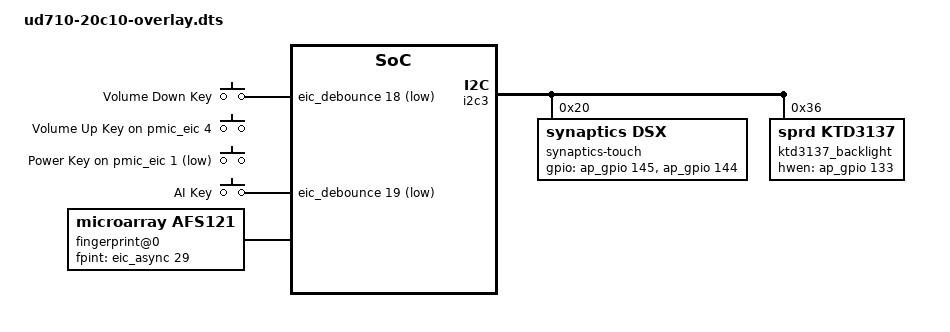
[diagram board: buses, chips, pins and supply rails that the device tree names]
/dts-v1/;
/plugin/;

#include <dt-bindings/input/input.h>
#include <dt-bindings/gpio/gpio.h>

/ {
	fragment {
		target-path = "/";
		__overlay__ {

			gpio-keys {
				compatible = "gpio-keys";

				key-volumedown {
					label = "Volume Down Key";
					linux,code = <KEY_VOLUMEDOWN>;
					gpios = <&eic_debounce 18 GPIO_ACTIVE_LOW>;
					debounce-interval = <2>;
					wakeup-source;
				};

				key-volumeup {
					label = "Volume Up Key";
					linux,code = <KEY_VOLUMEUP>;
					gpios = <&pmic_eic 4 GPIO_ACTIVE_HIGH>;
					debounce-interval = <2>;
					wakeup-source;
				};

				key-power {
					label = "Power Key";
					linux,code = <KEY_POWER>;
					gpios = <&pmic_eic 1 GPIO_ACTIVE_LOW>;
					debounce-interval = <2>;
					wakeup-source;
				};

				key-ai {
					label = "AI Key";
					linux,code = <766>;
					gpios = <&eic_debounce 19 GPIO_ACTIVE_LOW>;
					debounce-interval = <2>;
					wakeup-source;
				};
			};

			fingerprint@0 {
				compatible = "microarray,afs121";
				fpint-gpios = <&eic_async 29 0>;
			};
		};
	};
};

&i2c3 {
	status = "okay";

	synaptics-touch@20 {
		compatible = "synaptics,dsx";
		reg = <0x20>;
		gpios = <&ap_gpio 145 GPIO_ACTIVE_HIGH
			&ap_gpio 144 GPIO_ACTIVE_HIGH>;
	};

	ktd3137_backlight: backlight@36 {
		status = "okay";
		compatible = "sprd,ktd3137";
		reg = <0x36>;
		hwen-gpio = <&ap_gpio 133 GPIO_ACTIVE_HIGH>;
		ktd,using-lsb;
		ktd,using-linear;
		ktd,bl-fscal-led = <0x99>;/*default 20.2mA*/
		ktd,turn-on-ramp = <0>; /* Should add ms value, please check datasheet*/
		ktd,turn-off-ramp = <0>;  /* Should add ms value, please check datasheet*/
		ktd,i2c-trans-dim = <0>;  /* Should add ms value, please check datasheet*/
		ktd,bl-channel = <2>;
		ktd,ovp-level = <32>; /*default 32v*/
		ktd,inductor-current = <1800>; /*dfault 2600mA*/
		ktd,switching-frequency = <1000>;/*dfault 1000KHz*/
	};
};

&panel {
	sprd,backlight = <&ktd3137_backlight>;
};

&ddr_dfs {
	sprd-scene = "boost", "lcdon", "lcdoff", "camlow",
		"camhigh", "camveryhigh";
	sprd-freq = <1333 768 256 384 667 1333>;
};
